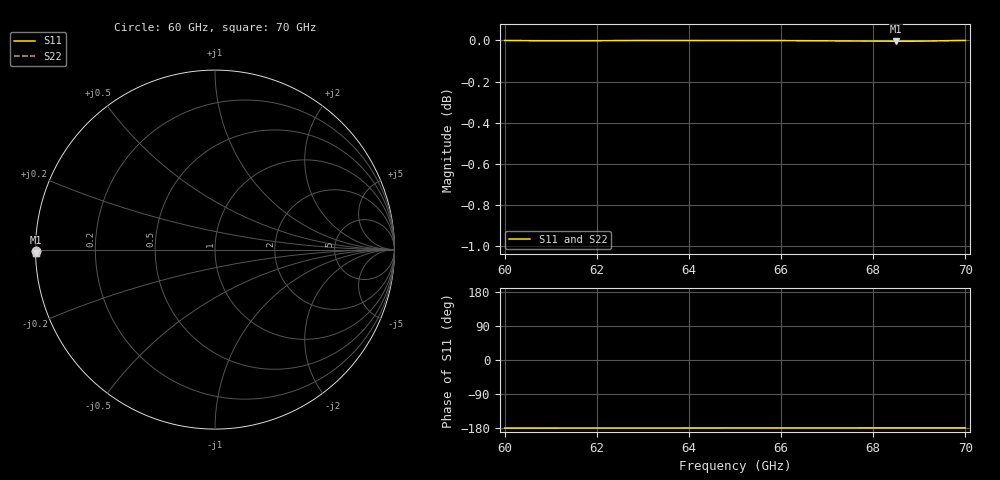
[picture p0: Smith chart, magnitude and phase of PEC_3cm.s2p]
! TOUCHSTONE file generated by CST MICROWAVE STUDIO
! Date and time: Sat Feb 17 12:41:10 2024
! Project name: metal_rotado.cst
! Parameters = {angX=2; angY=2}
! Header version: 2018
! Port assignment regex: !\s*Touchstone port\s*([0-9]+)\s*=\s*(CST MWS port|CST DS port)\s*([0-9]+|Zmin|Zmax)\s*\(\"(.*)\"\)(\s*mode\s*([0-9]+))?.*
! Touchstone port assignment:
! Touchstone port 1 = CST MWS port 1 ("")
! Touchstone port 2 = CST MWS port 2 ("")
# GHz S MA R 376.7
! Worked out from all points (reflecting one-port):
!   1001 points, 60 GHz to 70 GHz, reference 376.7 ohm
!   lowest |S11| = 0.0 dB at 68.49 GHz (marker M1)
!   phase of S11 starts at -180 deg and turns +1 deg over the sweep
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60  1 -179.6  3.999e-66 180.0  3.999e-66 180.0  0.9999 -179.6
60.89  0.9998 -179.6  2.999e-66 180.0  2.999e-66 180.0  0.9999 -179.6
61.25  0.9998 -179.6  2.999e-66 180.0  2.999e-66 180.0  0.9999 -179.6
61.67  0.9998 -179.6  2.999e-66 180.0  2.999e-66 180.0  0.9999 -179.6
62.04  0.9999 -179.6  2e-66 180.0  2e-66 180.0  1 -179.6
62.52  1 -179.5  2e-66 180.0  2e-66 180.0  1 -179.5
62.94  1 -179.5  2e-66 180.0  2e-66 180.0  1 -179.5
63.34  1 -179.5  9.998e-67 180.0  9.998e-67 180.0  1 -179.5
63.75  1 -179.5  9.998e-67 180.0  9.998e-67 180.0  1 -179.4
64.32  1 -179.4  9.998e-67 180.0  9.998e-67 180.0  1 -179.3
65  1 -179.3  0 0.0  0 0.0  1 -179.3
65.88  0.9999 -179.2  9.998e-67 -0.0  9.998e-67 -0.0  1 -179.2
66.33  0.9999 -179.2  9.998e-67 -0.0  9.998e-67 -0.0  1 -179.1
66.67  0.9999 -179.1  9.998e-67 -0.0  9.998e-67 -0.0  0.9999 -179.1
67.04  0.9998 -179.1  2e-66 -0.0  2e-66 -0.0  0.9998 -179.1
67.44  0.9997 -179.1  2e-66 -0.0  2e-66 -0.0  0.9997 -179.0
67.89  0.9996 -179.1  2e-66 -0.0  2e-66 -0.0  0.9996 -179.0
68.34  0.9995 -179.1  2.999e-66 -0.0  2.999e-66 -0.0  0.9996 -179.0
68.49  0.9995 -179.1  2.999e-66 -0.0  2.999e-66 -0.0  0.9996 -179.0
69.04  0.9996 -179.1  2.999e-66 -0.0  2.999e-66 -0.0  0.9997 -179.0
69.84  1 -179.1  3.999e-66 -0.0  3.999e-66 -0.0  1 -179.1
70  1 -179.1  0 0.0  0 0.0  1 -179.1
